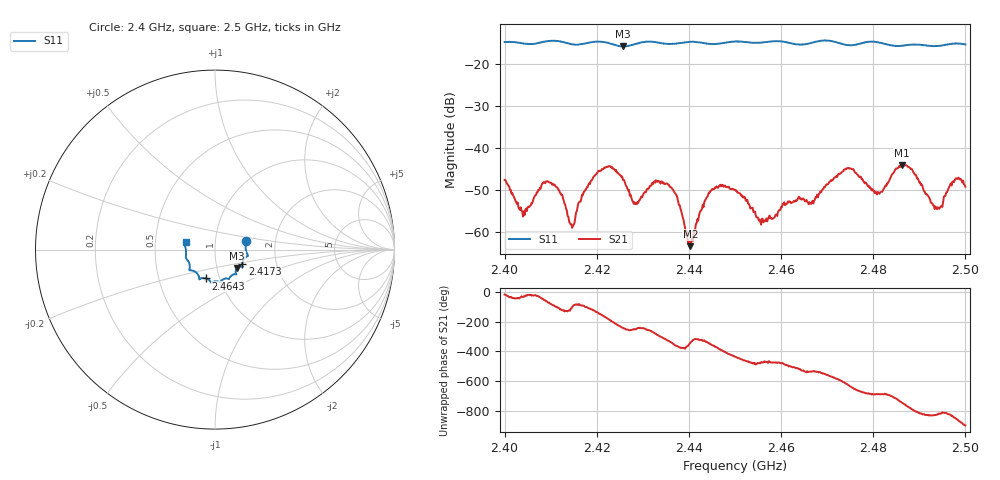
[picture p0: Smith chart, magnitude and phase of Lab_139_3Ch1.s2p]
# Hz S RI R 50
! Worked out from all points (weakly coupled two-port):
!   601 points, 2.4 GHz to 2.5 GHz, reference 50 ohm
!   highest |S21| = -44.11 dB at 2.4862 GHz (marker M1); lowest = -63.4 dB at 2.4403 GHz (marker M2)
!   lowest |S11| = -15.9 dB at 2.4257 GHz (marker M3), VSWR 1.38, Z = 62.5 - j13.1 ohm
!   |S11| at or under -10 dB: start of sweep to end of sweep
!   S12 and S22 are empty: the file has one direction only
!   S11 on the Smith chart (normalised r, x): 2.4 GHz: 1.41, +0.14; 2.4173 GHz: 1.34, -0.23; 2.4643 GHz: 0.86, -0.28; 2.5 GHz: 0.72, +0.06
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2.4e9  0.1733 0.0494  0.00399 -0.0011  0 0  0 0
2.404333e9  0.1714 0.0213  0.00138 -0.000769  0 0  0 0
2.4105e9  0.1836 -0.0339  0.000127 -0.00371  0 0  0 0
2.414667e9  0.1612 -0.0526  -0.000195 -0.0011  0 0  0 0
2.416667e9  0.1528 -0.0745  3.04e-05 -0.00252  0 0  0 0
2.417333e9  0.1521 -0.0819  -0.000229 -0.00301  0 0  0 0
2.422167e9  0.1506 -0.0946  -0.00588 -0.000644  0 0  0 0
2.425667e9  0.1227 -0.1023  -0.00208 0.00359  0 0  0 0
2.4285e9  0.1151 -0.1277  -0.000739 0.00208  0 0  0 0
2.433333e9  0.1128 -0.137  0.00142 0.00379  0 0  0 0
2.437e9  0.0874 -0.1486  0.00287 2.81e-05  0 0  0 0
2.440333e9  0.0789 -0.1638  0.000635 0.000229  0 0  0 0
2.444667e9  0.0584 -0.1609  0.00301 0.000462  0 0  0 0
2.45e9  0.0293 -0.1807  0.000822 -0.00306  0 0  0 0
2.455667e9  -0.00401 -0.1774  -0.000457 -0.00113  0 0  0 0
2.464333e9  -0.0499 -0.1606  -0.0024 -0.000608  0 0  0 0
2.466667e9  -0.0759 -0.1596  -0.00223 -0.000167  0 0  0 0
2.474333e9  -0.1 -0.1324  -0.000991 0.00558  0 0  0 0
2.483333e9  -0.1406 -0.09  0.00354 0.00174  0 0  0 0
2.486167e9  -0.1504 -0.0618  0.00566 -0.00261  0 0  0 0
2.493833e9  -0.1615 -0.0038  -0.00053 -0.00178  0 0  0 0
2.5e9  -0.1636 0.0421  -0.00344 2.91e-07  0 0  0 0
